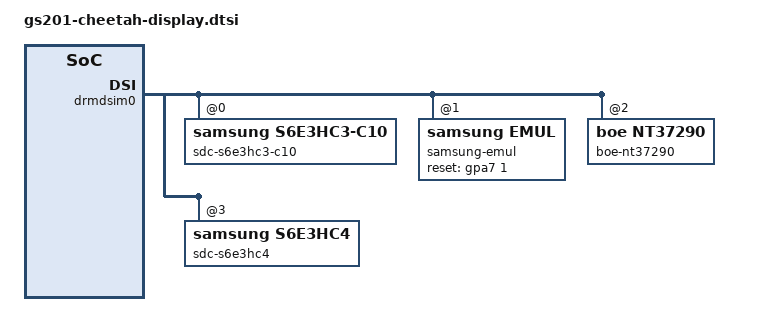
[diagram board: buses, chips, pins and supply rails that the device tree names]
// SPDX-License-Identifier: GPL-2.0-only
/*
 * Display nodes for cloudripper-related boards.
 *
 * Copyright 2021 Google LLC
 *
 */
#include "gs201-cheetah-display-constants.dtsi"

&drmdsim0 {
	sdc_s6e3hc3_c10: panel@0 {
		compatible = "samsung,s6e3hc3-c10";
		label = "sdc-s6e3hc3-c10";
		channel = <0>;
		#include "gs201-cheetah-display-common.dtsi"
	};
	panel@1 {
		compatible = "samsung,emul";
		label = "samsung-emul";
		channel = <0>;

		/* reset, power */
		reset-gpios = <&gpa7 1 GPIO_ACTIVE_HIGH>;
	};
	boe_nt37290: panel@2 {
		compatible = "boe,nt37290";
		label = "boe-nt37290";
		channel = <0>;
		#include "gs201-cheetah-display-common.dtsi"
	};
	sdc_s6e3hc4: panel@3 {
		compatible = "samsung,s6e3hc4";
		label = "sdc-s6e3hc4";
		channel = <0>;
		#include "gs201-cheetah-display-common.dtsi"
	};
};

&dsim_modes {
	dsim-modes {
		1080x2340 {
			mode-name = "1080x2340";
			pmsk = <
				0x2 0xDB 0x2 0x1355 /* p m s k */
				>;
			hs-clk = <1346>;
			esc-clk = <20>;
		};
	};
};

&sdc_s6e3hc4 {
	vddd-normal-microvolt = <CHEETAH_3HC4_VDDD_NORMAL_MICROVOLT>;
};
